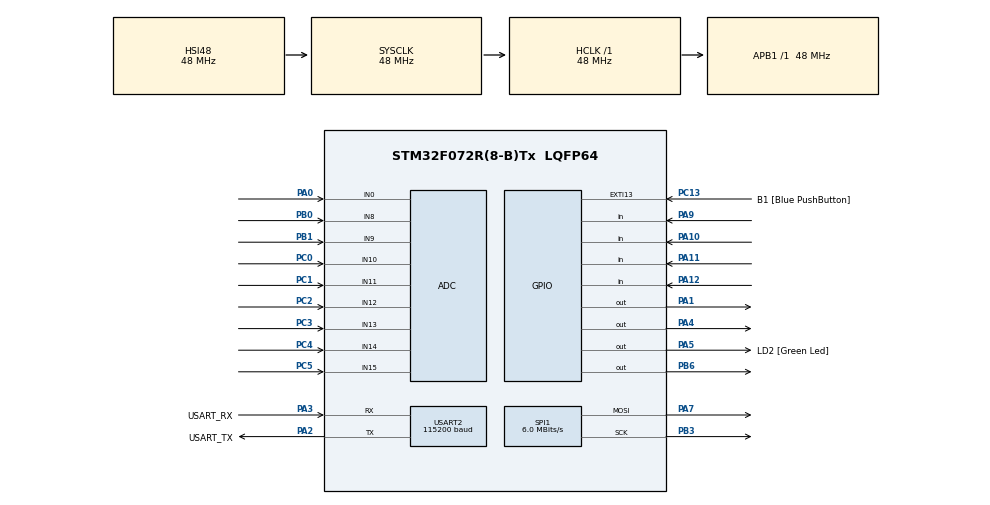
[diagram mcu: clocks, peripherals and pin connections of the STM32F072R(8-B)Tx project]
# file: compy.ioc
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Mcu.Family=STM32F0
Mcu.Name=STM32F072R(8-B)Tx
Mcu.Package=LQFP64
PA0.Mode=IN0
PA0.Signal=ADC_IN0
PA1.Signal=GPIO_Output
PA10.Signal=GPIO_Input
PA11.Signal=GPIO_Input
PA12.Signal=GPIO_Input
PA13.GPIO_Label=TMS
PA13.Mode=Serial_Wire
PA13.Signal=SYS_SWDIO
PA14.GPIO_Label=TCK
PA14.Mode=Serial_Wire
PA14.Signal=SYS_SWCLK
PA2.GPIO_Label=USART_TX
PA2.GPIO_Mode=GPIO_MODE_AF_PP
PA2.GPIO_PuPd=GPIO_NOPULL
PA2.GPIO_Speed=GPIO_SPEED_FREQ_LOW
PA2.Mode=Asynchronous
PA2.Signal=USART2_TX
PA3.GPIO_Label=USART_RX
PA3.GPIO_Mode=GPIO_MODE_AF_PP
PA3.GPIO_PuPd=GPIO_NOPULL
PA3.GPIO_Speed=GPIO_SPEED_FREQ_LOW
PA3.Mode=Asynchronous
PA3.Signal=USART2_RX
PA4.Signal=GPIO_Output
PA5.GPIO_Label=LD2 [Green Led]
PA5.GPIO_Mode=GPIO_MODE_OUTPUT_PP
PA5.GPIO_PuPd=GPIO_NOPULL
PA5.GPIO_Speed=GPIO_SPEED_FREQ_LOW
PA5.Signal=GPIO_Output
PA7.Mode=TX_Only_Simplex_Unidirect_Master
PA7.Signal=SPI1_MOSI
PA9.Signal=GPIO_Input
PB0.Mode=IN8
PB0.Signal=ADC_IN8
PB1.Mode=IN9
PB1.Signal=ADC_IN9
PB3.Mode=TX_Only_Simplex_Unidirect_Master
PB3.Signal=SPI1_SCK
PB6.Signal=GPIO_Output
PC0.Mode=IN10
PC0.Signal=ADC_IN10
PC1.Mode=IN11
PC1.Signal=ADC_IN11
PC13.GPIO_Label=B1 [Blue PushButton]
PC13.GPIO_ModeDefaultEXTI=GPIO_MODE_IT_FALLING
PC13.Signal=GPXTI13
PC14-OSC32_IN.Mode=LSE-External-Oscillator
PC14-OSC32_IN.Signal=RCC_OSC32_IN
PC15-OSC32_OUT.Mode=LSE-External-Oscillator
PC15-OSC32_OUT.Signal=RCC_OSC32_OUT
PC2.Mode=IN12
PC2.Signal=ADC_IN12
PC3.Mode=IN13
PC3.Signal=ADC_IN13
PC4.Mode=IN14
PC4.Signal=ADC_IN14
PC5.Mode=IN15
PC5.Signal=ADC_IN15
PF0-OSC_IN.Mode=HSE-External-Clock-Source
PF0-OSC_IN.Signal=RCC_OSC_IN
PF1-OSC_OUT.Signal=RCC_OSC_OUT
ProjectManager.HeapSize=0x200
ProjectManager.StackSize=0x400
ProjectManager.TargetToolchain=STM32CubeIDE
RCC.AHBFreq_Value=48000000
RCC.APB1Freq_Value=48000000
RCC.APB1TimFreq_Value=48000000
RCC.FLatency-AdvancedSettings=FLASH_LATENCY_1
RCC.HCLKFreq_Value=48000000
RCC.PLLDivider=RCC_PREDIV_DIV2
RCC.PLLMUL=RCC_PLL_MUL12
RCC.PREFETCH_ENABLE-AdvancedSettings=1
RCC.SYSCLKFreq_VALUE=48000000
RCC.SYSCLKSource=RCC_SYSCLKSOURCE_HSI48
SPI1.BaudRatePrescaler=SPI_BAUDRATEPRESCALER_8
SPI1.CLKPhase=SPI_PHASE_1EDGE
SPI1.CLKPolarity=SPI_POLARITY_LOW
SPI1.CalculateBaudRate=6.0 MBits/s
SPI1.DataSize=SPI_DATASIZE_8BIT
SPI1.Direction=SPI_DIRECTION_2LINES
SPI1.Mode=SPI_MODE_MASTER
SPI1.NSSPMode=SPI_NSS_PULSE_DISABLE
SPI1.VirtualType=VM_MASTER
USART2.BaudRate=115200
USART2.VirtualMode=VM_ASYNC
USART2.VirtualMode-Asynchronous=VM_ASYNC
VP_TIM1_VS_ClockSourceINT.Mode=Internal
board=NUCLEO-F072RB

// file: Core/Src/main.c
/* USER CODE BEGIN Header */
/**
  ******************************************************************************
  * @file           : main.c
  * @brief          : Main program body
  ******************************************************************************
  * @attention
  *
  * Copyright (c) 2023 STMicroelectronics.
  * All rights reserved.
  *
  * This software is licensed under terms that can be found in the LICENSE file
  * in the root directory of this software component.
  * If no LICENSE file comes with this software, it is provided AS-IS.
  *
  ******************************************************************************
  */
/* USER CODE END Header */
#include <bargraph.h>
#include "main.h"

/* USER CODE BEGIN Includes */
#include <stdio.h>
#include <ST7735.h>
#include <ST7735Hal.h>
/* USER CODE END Includes */

ADC_HandleTypeDef hadc;

SPI_HandleTypeDef hspi1;

TIM_HandleTypeDef htim1;

UART_HandleTypeDef huart2;

void SystemClock_Config(void);
static void MX_GPIO_Init(void);
static void MX_USART2_UART_Init(void);
static void MX_ADC_Init(void);
static void MX_SPI1_Init(void);
static void MX_TIM1_Init(void);
/* USER CODE BEGIN PFP */
#define PUTCHAR_PROTOTYPE int __io_putchar(int ch)
/* USER CODE END PFP */

int main(void)
{

  /* MCU Configuration--------------------------------------------------------*/

  /* Reset of all peripherals, Initializes the Flash interface and the Systick. */
  HAL_Init();

  /* Configure the system clock */
  SystemClock_Config();

  /* Initialize all configured peripherals */
  MX_GPIO_Init();
  MX_USART2_UART_Init();
  MX_ADC_Init();
  MX_SPI1_Init();
  MX_TIM1_Init();
  /* USER CODE BEGIN 2 */

	digitalWrite(RST,0);
	HAL_Delay(10);
	digitalWrite(RST,1);
	HAL_Delay(10);

	HAL_ADC_Start(&hadc);

//	setup();
	InitDisplay();
	ClearDisplay();
	DisplayOn();

	int background = Colour(15,15,15);
	int variation = Colour(10,10,10);
	int tick = Colour(200,200,200);
	int bar = Colour(0,255,0);
	// background
	MoveTo(0,0);
	SetFore(background);
	SetBack(background);
	FillRect(160,128);

	Tick_t ticks[]=	{
			{0,-40},{5,-30},{10,-20},{15,-10},{20,0},{25,+10},{30,+20}
	};
	Tick_t ticks_red[]=	{
			{0,-18},{5,-15},{10,-12},{15,-9},{20,-6},{25,-3},{30,0}
	};
	Bargraph_t bg_ina = {
			.name="IN",
			.x1=20, .y1=84+25, .leds=31, .ys=15, .border=3,
			.back_col=background, .var_col=variation, .tick_col=tick, .bar_col=bar,
			.ticks=ticks, .num_ticks=7, .draw_ticks=TICKS_BOTTOM
	};
	Bargraph_t bg_outa = {
			.name="OUT",
			.x1=20, .y1=84, .leds=31, .ys=15,.border=3,
			.back_col=background, .var_col=variation, .tick_col=tick, .bar_col=bar,
			.ticks=ticks, .num_ticks=7, .draw_ticks=TICKS_TOP
	};
	Bargraph_t bg_reda = {
			.name="RED",
			.x1=20, .y1=43+25, .leds=31, .ys=15, .border=3,
			.back_col=background, .var_col=variation, .tick_col=tick, .bar_col=bar,
			.ticks=ticks_red, .num_ticks=7, .draw_ticks=TICKS_BOTTOM
	};
	Bargraph_t bg_redb = {
			.name="RED",
			.x1=20,.y1=43,.leds=31,.ys=15,.border=3,
			.back_col=background, .var_col=variation, .tick_col=tick, .bar_col=bar,
			.ticks=ticks_red, .num_ticks=7, .draw_ticks=TICKS_TOP
	};
	Bargraph_t bg_outb = {
			.name="OUT",
			.x1=20,.y1=2+25,.leds=31,.ys=15,.border=3,
			.back_col=background, .var_col=variation, .tick_col=tick, .bar_col=bar,
			.ticks=ticks, .num_ticks=7, .draw_ticks=TICKS_BOTTOM
	};
	Bargraph_t bg_inb = {
			.name="IN",
			.x1=20, .y1=2, .leds=31, .ys=15, .border=3,
			.back_col=background, .var_col=variation, .tick_col=tick, .bar_col=bar,
			.ticks=ticks, .num_ticks=7, .draw_ticks=TICKS_TOP
	};

	bargraph_init(&bg_ina);
	bargraph_init(&bg_outa);
	bargraph_init(&bg_reda);
	bargraph_init(&bg_redb);
	bargraph_init(&bg_inb);
	bargraph_init(&bg_outb);

	int db = -50;

	bargraph_set(&bg_ina, -40);
	bargraph_set(&bg_outa, 20);
	bargraph_set(&bg_inb, 19);
	bargraph_set(&bg_outb, 23);

	while(1)
	{
		int inc = 1;
		while (1)
		{
			db += inc;
			bargraph_set(&bg_ina, db);
			HAL_Delay(50);
			if (db > 30)
				break;
		}
		while (1)
		{
			db -= inc;
			bargraph_set(&bg_ina, db);
			HAL_Delay(50);
			if (db < -50)
				break;
		}
	}
  /* USER CODE END 2 */

  /* Infinite loop */
  while (1)
  {

  }
}

void SystemClock_Config(void)
{
  RCC_OscInitTypeDef RCC_OscInitStruct = {0};
  RCC_ClkInitTypeDef RCC_ClkInitStruct = {0};
  RCC_PeriphCLKInitTypeDef PeriphClkInit = {0};

  /** Initializes the RCC Oscillators according to the specified parameters
  * in the RCC_OscInitTypeDef structure.
  */
  RCC_OscInitStruct.OscillatorType = RCC_OSCILLATORTYPE_HSI14|RCC_OSCILLATORTYPE_HSI48;
  RCC_OscInitStruct.HSI48State = RCC_HSI48_ON;
  RCC_OscInitStruct.HSI14State = RCC_HSI14_ON;
  RCC_OscInitStruct.HSI14CalibrationValue = 16;
  RCC_OscInitStruct.PLL.PLLState = RCC_PLL_NONE;
  if (HAL_RCC_OscConfig(&RCC_OscInitStruct) != HAL_OK)
  {
    Error_Handler();
  }

  /** Initializes the CPU, AHB and APB buses clocks
  */
  RCC_ClkInitStruct.ClockType = RCC_CLOCKTYPE_HCLK|RCC_CLOCKTYPE_SYSCLK
                              |RCC_CLOCKTYPE_PCLK1;
  RCC_ClkInitStruct.SYSCLKSource = RCC_SYSCLKSOURCE_HSI48;
  RCC_ClkInitStruct.AHBCLKDivider = RCC_SYSCLK_DIV1;
  RCC_ClkInitStruct.APB1CLKDivider = RCC_HCLK_DIV1;

  if (HAL_RCC_ClockConfig(&RCC_ClkInitStruct, FLASH_LATENCY_1) != HAL_OK)
  {
    Error_Handler();
  }
  PeriphClkInit.PeriphClockSelection = RCC_PERIPHCLK_USART2;
  PeriphClkInit.Usart2ClockSelection = RCC_USART2CLKSOURCE_PCLK1;
  if (HAL_RCCEx_PeriphCLKConfig(&PeriphClkInit) != HAL_OK)
  {
    Error_Handler();
  }
}

static void MX_ADC_Init(void)
{

  ADC_ChannelConfTypeDef sConfig = {0};

  /** Configure the global features of the ADC (Clock, Resolution, Data Alignment and number of conversion)
  */
  hadc.Instance = ADC1;
  hadc.Init.ClockPrescaler = ADC_CLOCK_ASYNC_DIV1;
  hadc.Init.Resolution = ADC_RESOLUTION_12B;
  hadc.Init.DataAlign = ADC_DATAALIGN_RIGHT;
  hadc.Init.ScanConvMode = ADC_SCAN_DIRECTION_FORWARD;
  hadc.Init.EOCSelection = ADC_EOC_SINGLE_CONV;
  hadc.Init.LowPowerAutoWait = DISABLE;
  hadc.Init.LowPowerAutoPowerOff = DISABLE;
  hadc.Init.ContinuousConvMode = DISABLE;
  hadc.Init.DiscontinuousConvMode = DISABLE;
  hadc.Init.ExternalTrigConv = ADC_SOFTWARE_START;
  hadc.Init.ExternalTrigConvEdge = ADC_EXTERNALTRIGCONVEDGE_NONE;
  hadc.Init.DMAContinuousRequests = DISABLE;
  hadc.Init.Overrun = ADC_OVR_DATA_PRESERVED;
  if (HAL_ADC_Init(&hadc) != HAL_OK)
  {
    Error_Handler();
  }

  /** Configure for the selected ADC regular channel to be converted.
  */
  sConfig.Channel = ADC_CHANNEL_0;
  sConfig.Rank = ADC_RANK_CHANNEL_NUMBER;
  sConfig.SamplingTime = ADC_SAMPLETIME_1CYCLE_5;
  if (HAL_ADC_ConfigChannel(&hadc, &sConfig) != HAL_OK)
  {
    Error_Handler();
  }

  /** Configure for the selected ADC regular channel to be converted.
  */
  sConfig.Channel = ADC_CHANNEL_8;
  if (HAL_ADC_ConfigChannel(&hadc, &sConfig) != HAL_OK)
  {
    Error_Handler();
  }

  /** Configure for the selected ADC regular channel to be converted.
  */
  sConfig.Channel = ADC_CHANNEL_9;
  if (HAL_ADC_ConfigChannel(&hadc, &sConfig) != HAL_OK)
  {
    Error_Handler();
  }

  /** Configure for the selected ADC regular channel to be converted.
  */
  sConfig.Channel = ADC_CHANNEL_10;
  if (HAL_ADC_ConfigChannel(&hadc, &sConfig) != HAL_OK)
  {
    Error_Handler();
  }

  /** Configure for the selected ADC regular channel to be converted.
  */
  sConfig.Channel = ADC_CHANNEL_11;
  if (HAL_ADC_ConfigChannel(&hadc, &sConfig) != HAL_OK)
  {
    Error_Handler();
  }

  /** Configure for the selected ADC regular channel to be converted.
  */
  sConfig.Channel = ADC_CHANNEL_12;
  if (HAL_ADC_ConfigChannel(&hadc, &sConfig) != HAL_OK)
  {
    Error_Handler();
  }

  /** Configure for the selected ADC regular channel to be converted.
  */
  sConfig.Channel = ADC_CHANNEL_13;
  if (HAL_ADC_ConfigChannel(&hadc, &sConfig) != HAL_OK)
  {
    Error_Handler();
  }

  /** Configure for the selected ADC regular channel to be converted.
  */
  sConfig.Channel = ADC_CHANNEL_14;
  if (HAL_ADC_ConfigChannel(&hadc, &sConfig) != HAL_OK)
  {
    Error_Handler();
  }

  /** Configure for the selected ADC regular channel to be converted.
  */
  sConfig.Channel = ADC_CHANNEL_15;
  if (HAL_ADC_ConfigChannel(&hadc, &sConfig) != HAL_OK)
  {
    Error_Handler();
  }

}

static void MX_SPI1_Init(void)
{

  /* SPI1 parameter configuration*/
  hspi1.Instance = SPI1;
  hspi1.Init.Mode = SPI_MODE_MASTER;
  hspi1.Init.Direction = SPI_DIRECTION_2LINES;
  hspi1.Init.DataSize = SPI_DATASIZE_8BIT;
  hspi1.Init.CLKPolarity = SPI_POLARITY_LOW;
  hspi1.Init.CLKPhase = SPI_PHASE_1EDGE;
  hspi1.Init.NSS = SPI_NSS_SOFT;
  hspi1.Init.BaudRatePrescaler = SPI_BAUDRATEPRESCALER_8;
  hspi1.Init.FirstBit = SPI_FIRSTBIT_MSB;
  hspi1.Init.TIMode = SPI_TIMODE_DISABLE;
  hspi1.Init.CRCCalculation = SPI_CRCCALCULATION_DISABLE;
  hspi1.Init.CRCPolynomial = 7;
  hspi1.Init.CRCLength = SPI_CRC_LENGTH_DATASIZE;
  hspi1.Init.NSSPMode = SPI_NSS_PULSE_DISABLE;
  if (HAL_SPI_Init(&hspi1) != HAL_OK)
  {
    Error_Handler();
  }

}

static void MX_TIM1_Init(void)
{

  TIM_ClockConfigTypeDef sClockSourceConfig = {0};
  TIM_MasterConfigTypeDef sMasterConfig = {0};

  htim1.Instance = TIM1;
  htim1.Init.Prescaler = 0;
  htim1.Init.CounterMode = TIM_COUNTERMODE_UP;
  htim1.Init.Period = 65535;
  htim1.Init.ClockDivision = TIM_CLOCKDIVISION_DIV1;
  htim1.Init.RepetitionCounter = 0;
  htim1.Init.AutoReloadPreload = TIM_AUTORELOAD_PRELOAD_DISABLE;
  if (HAL_TIM_Base_Init(&htim1) != HAL_OK)
  {
    Error_Handler();
  }
  sClockSourceConfig.ClockSource = TIM_CLOCKSOURCE_INTERNAL;
  if (HAL_TIM_ConfigClockSource(&htim1, &sClockSourceConfig) != HAL_OK)
  {
    Error_Handler();
  }
  sMasterConfig.MasterOutputTrigger = TIM_TRGO_RESET;
  sMasterConfig.MasterSlaveMode = TIM_MASTERSLAVEMODE_DISABLE;
  if (HAL_TIMEx_MasterConfigSynchronization(&htim1, &sMasterConfig) != HAL_OK)
  {
    Error_Handler();
  }

}

static void MX_USART2_UART_Init(void)
{

  huart2.Instance = USART2;
  huart2.Init.BaudRate = 115200;
  huart2.Init.WordLength = UART_WORDLENGTH_8B;
  huart2.Init.StopBits = UART_STOPBITS_1;
  huart2.Init.Parity = UART_PARITY_NONE;
  huart2.Init.Mode = UART_MODE_TX_RX;
  huart2.Init.HwFlowCtl = UART_HWCONTROL_NONE;
  huart2.Init.OverSampling = UART_OVERSAMPLING_16;
  huart2.Init.OneBitSampling = UART_ONE_BIT_SAMPLE_DISABLE;
  huart2.AdvancedInit.AdvFeatureInit = UART_ADVFEATURE_NO_INIT;
  if (HAL_UART_Init(&huart2) != HAL_OK)
  {
    Error_Handler();
  }

}

static void MX_GPIO_Init(void)
{
  GPIO_InitTypeDef GPIO_InitStruct = {0};

  /* GPIO Ports Clock Enable */
  __HAL_RCC_GPIOC_CLK_ENABLE();
  __HAL_RCC_GPIOF_CLK_ENABLE();
  __HAL_RCC_GPIOA_CLK_ENABLE();
  __HAL_RCC_GPIOB_CLK_ENABLE();

  /*Configure GPIO pin Output Level */
  HAL_GPIO_WritePin(GPIOA, GPIO_PIN_1|GPIO_PIN_4|LD2_Pin, GPIO_PIN_RESET);

  /*Configure GPIO pin Output Level */
  HAL_GPIO_WritePin(GPIOB, GPIO_PIN_6, GPIO_PIN_RESET);

  /*Configure GPIO pin : B1_Pin */
  GPIO_InitStruct.Pin = B1_Pin;
  GPIO_InitStruct.Mode = GPIO_MODE_IT_FALLING;
  GPIO_InitStruct.Pull = GPIO_NOPULL;
  HAL_GPIO_Init(B1_GPIO_Port, &GPIO_InitStruct);

  /*Configure GPIO pins : PA1 PA4 LD2_Pin */
  GPIO_InitStruct.Pin = GPIO_PIN_1|GPIO_PIN_4|LD2_Pin;
  GPIO_InitStruct.Mode = GPIO_MODE_OUTPUT_PP;
  GPIO_InitStruct.Pull = GPIO_NOPULL;
  GPIO_InitStruct.Speed = GPIO_SPEED_FREQ_LOW;
  HAL_GPIO_Init(GPIOA, &GPIO_InitStruct);

  /*Configure GPIO pins : PA9 PA10 PA11 PA12 */
  GPIO_InitStruct.Pin = GPIO_PIN_9|GPIO_PIN_10|GPIO_PIN_11|GPIO_PIN_12;
  GPIO_InitStruct.Mode = GPIO_MODE_INPUT;
  GPIO_InitStruct.Pull = GPIO_NOPULL;
  HAL_GPIO_Init(GPIOA, &GPIO_InitStruct);

  /*Configure GPIO pin : PB6 */
  GPIO_InitStruct.Pin = GPIO_PIN_6;
  GPIO_InitStruct.Mode = GPIO_MODE_OUTPUT_PP;
  GPIO_InitStruct.Pull = GPIO_NOPULL;
  GPIO_InitStruct.Speed = GPIO_SPEED_FREQ_LOW;
  HAL_GPIO_Init(GPIOB, &GPIO_InitStruct);

}

/* USER CODE BEGIN 4 */
/**
  * @brief  Retargets the C library printf function to the USART.
  * @param  None
  * @retval None
  */
PUTCHAR_PROTOTYPE
{
  /* Place your implementation of fputc here */
  /* e.g. write a character to the USART1 and Loop until the end of transmission */
  HAL_UART_Transmit(&huart2, (uint8_t *)&ch, 1, 0xFFFF);
  if (ch=='\n')
  {
	  HAL_UART_Transmit(&huart2, (uint8_t *)"\r", 1, 0xFFFF);
  }

  return ch;
}
/* USER CODE END 4 */

void Error_Handler(void)
{
  __disable_irq();
  while (1)
  {
  }
}
